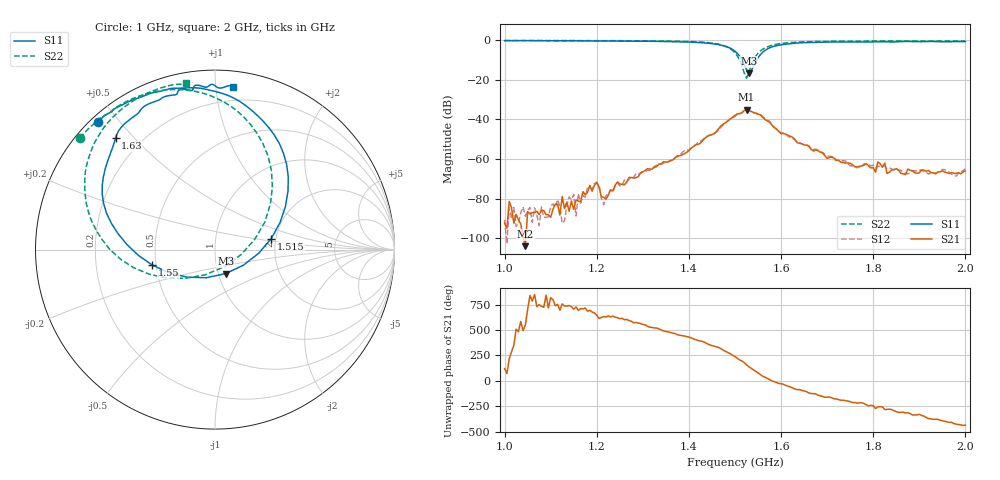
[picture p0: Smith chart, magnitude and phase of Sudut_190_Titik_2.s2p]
# Hz S RI R 50
! CMT, C1220, 16058040, 17.2.0/1
! Date: 14/08/2018 12:47:44
! Data: Format (Calibration Info)
! Freq  S11: Re/Im (F2)  S21: Re/Im (F2)  S12: Re/Im (F2)  S22: Re/Im (F2)
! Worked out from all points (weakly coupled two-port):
!   201 points, 1 GHz to 2 GHz, reference 50 ohm
!   highest |S21| = -35.07 dB at 1.525 GHz (marker M1); lowest = -103.9 dB at 1.045 GHz (marker M2)
!   lowest |S11| = -16.7 dB at 1.53 GHz (marker M3), VSWR 1.34, Z = 54.2 - j14.8 ohm
!   |S11| at or under -10 dB: 1.515 GHz to 1.547 GHz (31.94 MHz wide, 2.09 % of centre)
!   |S22| runs from -19.2 to -0.2 dB; largest |S21 - S12| = 0.00078
!   S11 on the Smith chart (normalised r, x): 1 GHz: 0.02, +0.44; 1.515 GHz: 1.89, +0.26; 1.55 GHz: 0.48, -0.09; 1.63 GHz: 0.11, +0.44; 2 GHz: 0.10, +1.11
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1e9  -0.6516 0.7135  -1.23e-05 2.08e-05  -2.9e-05 4.54e-06  -0.7538 0.6215
1.045e9  -0.6174 0.7446  -6.29e-06 -9.48e-07  -2.46e-05 2.65e-05  -0.7229 0.6549
1.17e9  -0.4815 0.824  0.000146 -3.02e-05  0.000118 -1.78e-05  -0.6182 0.7467
1.2e9  -0.4394 0.8406  6.88e-05 -0.000251  5.23e-06 -0.000243  -0.5851 0.7599
1.21e9  -0.4299 0.8435  -1.13e-05 -0.00011  -1.52e-05 -0.000102  -0.5807 0.7642
1.22e9  -0.4171 0.8481  -2.15e-06 -9.7e-05  4.71e-05 -0.00011  -0.5739 0.7739
1.245e9  -0.3719 0.8662  -3.57e-05 -0.000262  -7.59e-05 -0.000239  -0.5451 0.7957
1.335e9  -0.2192 0.8987  -0.00066 0.000354  -0.00063 0.000403  -0.4042 0.8615
1.45e9  0.1829 0.7932  0.00399 -0.000999  0.004 -0.00131  0.0195 0.8378
1.5e9  0.407 0.3281  -0.00657 -0.0108  -0.0062 -0.0101  0.3197 0.3512
1.515e9  0.3132 0.0611  -0.0142 -0.00385  -0.0141 -0.00424  0.2211 0.0571
1.525e9  0.1581 -0.0871  -0.0163 0.0068  -0.0165 0.00667  0.0524 -0.0958
1.53e9  0.0593 -0.1337  -0.0122 0.0105  -0.0124 0.0105  -0.0546 -0.1402
1.55e9  -0.3492 -0.0864  0.0024 0.0133  0.00183 0.0134  -0.4557 -0.0995
1.58e9  -0.6205 0.2561  0.00721 -2.95e-05  0.00749 -0.000334  -0.7055 0.2114
1.63e9  -0.5542 0.6219  0.000524 -0.00308  0.000669 -0.00301  -0.6945 0.5387
1.67e9  -0.4461 0.7454  -0.000922 -0.0013  -0.000965 -0.00145  -0.6277 0.6674
1.805e9  -0.2013 0.8876  2.2e-05 0.000465  -4.91e-05 0.00059  -0.4222 0.8488
1.81e9  -0.1937 0.8918  -0.000214 0.000813  -0.000137 0.00065  -0.4153 0.8525
1.825e9  -0.1588 0.8914  0.000165 0.000771  0.000172 0.000624  -0.3946 0.8625
1.835e9  -0.136 0.8868  6.5e-05 0.000457  0.000134 0.000592  -0.3814 0.8694
2e9  0.1015 0.9062  0.000121 -0.000488  0.00012 -0.000555  -0.1597 0.9299
